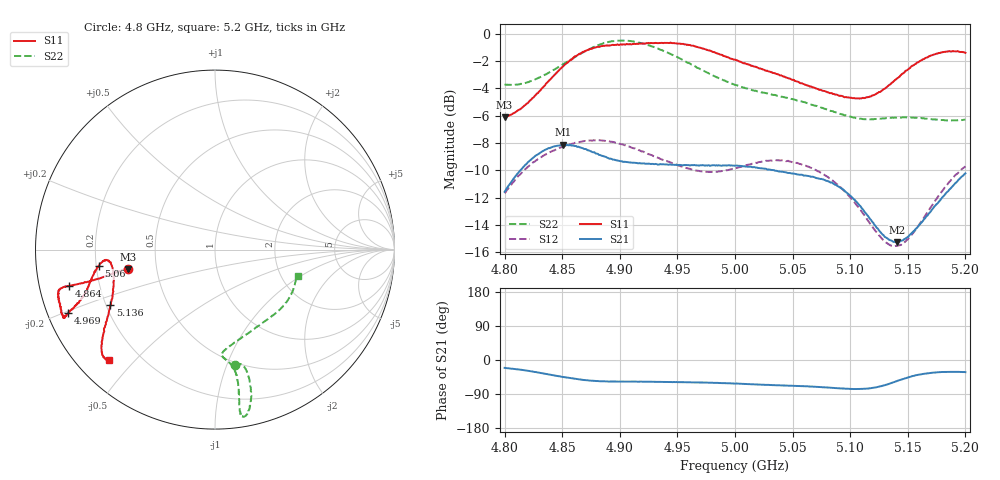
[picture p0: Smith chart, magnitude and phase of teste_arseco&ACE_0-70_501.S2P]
! Network Analyzer HP8722D
! Hewlett-Packard
! Data name: Linha & Wilkinson
! Saver's name: Rodrigo Anjos
! Comments: Teste da utilização de aquisição
! continua pelo VNA HP8722D
! Time and date: 8/5/2025 16:56
!  Frequency  S11  S21  S12  S22
# HZ  S  MA R 50
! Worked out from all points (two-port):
!   401 points, 4.8 GHz to 5.2 GHz, reference 50 ohm
!   highest |S21| = -8.13 dB at 4.851 GHz (marker M1); lowest = -15.2 dB at 5.141 GHz (marker M2)
!   |S21| within 3 dB of the highest: 4.803 GHz to 5.089 GHz (285.3 MHz wide, 5.77 % of centre); 5.189292 GHz to end of sweep
!   lowest |S11| = -6.1 dB at 4.8 GHz (marker M3), VSWR 2.96, Z = 17.1 - j4.92 ohm
!   |S11| at or under -10 dB: nowhere
!   |S22| runs from -6.3 to -0.5 dB; largest |S21 - S12| = 0.62
!   S11 on the Smith chart (normalised r, x): 4.8 GHz: 0.34, -0.10; 4.864 GHz: 0.09, -0.12; 4.969 GHz: 0.06, -0.21; 5.06 GHz: 0.21, -0.07; 5.136 GHz: 0.22, -0.24; 5.2 GHz: 0.09, -0.42
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4.8e9  0.4947 -167.3  0.2638 -20.8  0.2608 -141.9  0.6532 -80.2
4.826e9  0.5911 -166.7  0.355 -31.6  0.34 -146.3  0.6783 -75.9
4.851e9  0.7613 -165.8  0.3923 -44.9  0.3865 -150.6  0.7744 -75.3
4.864e9  0.8394 -166.0  0.386 -50.9  0.4001 -152.7  0.8352 -76.2
4.867e9  0.8528 -166.1  0.3821 -52.1  0.4029 -153.2  0.8513 -76.3
4.882e9  0.8953 -165.5  0.36 -55.9  0.4076 -155.4  0.9111 -78.0
4.9e9  0.9124 -162.8  0.342 -56.9  0.3951 -157.2  0.9434 -80.0
4.934e9  0.9247 -156.5  0.3321 -57.8  0.3508 -156.0  0.8793 -81.1
4.969e9  0.8902 -156.5  0.3292 -59.2  0.3143 -147.5  0.7459 -80.3
5e9  0.804 -159.4  0.329 -62.2  0.3219 -137.7  0.6501 -81.7
5.035e9  0.7154 -165.8  0.3151 -66.5  0.345 -135.3  0.5965 -86.0
5.06e9  0.6537 -172.1  0.3024 -69.1  0.3294 -137.1  0.5618 -84.4
5.067e9  0.6381 -173.4  0.3 -70.1  0.3213 -137.8  0.5492 -82.6
5.082e9  0.6063 -174.5  0.2872 -73.0  0.2957 -139.3  0.5248 -76.7
5.099e9  0.5842 -172.0  0.2578 -76.1  0.2544 -139.6  0.4986 -67.0
5.116e9  0.5866 -164.0  0.2137 -75.2  0.2056 -134.9  0.4865 -54.8
5.134e9  0.6502 -153.1  0.176 -62.6  0.1688 -118.1  0.4924 -42.7
5.136e9  0.6606 -152.0  0.1749 -60.3  0.1675 -115.6  0.4925 -41.5
5.141e9  0.6879 -149.4  0.1728 -55.0  0.1673 -109.0  0.4939 -38.7
5.152e9  0.7503 -144.8  0.1838 -44.2  0.1805 -95.3  0.4936 -33.1
5.171e9  0.8347 -139.3  0.2271 -33.7  0.2352 -81.5  0.4864 -24.7
5.2e9  0.8516 -133.8  0.3082 -32.1  0.327 -77.7  0.4847 -17.7
